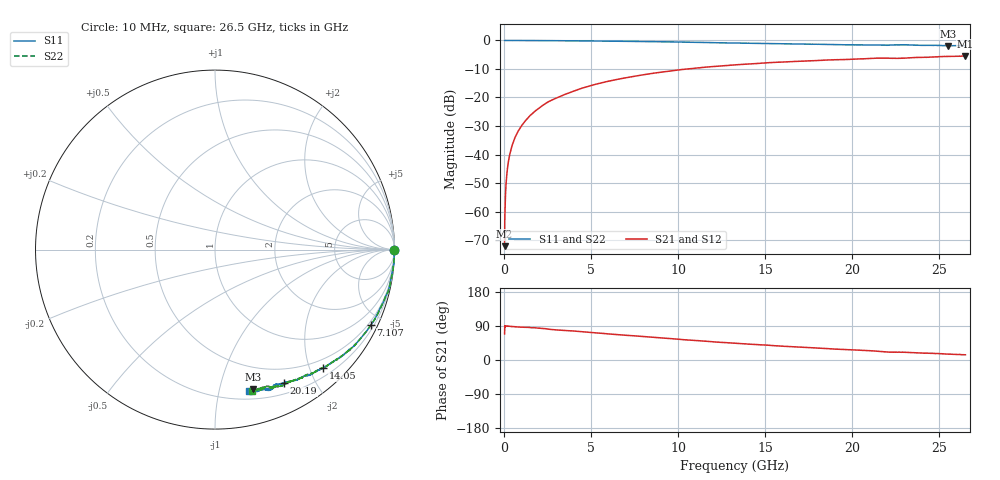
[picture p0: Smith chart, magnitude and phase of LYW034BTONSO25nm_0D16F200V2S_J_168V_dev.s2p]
!Keysight Technologies,N5222B,MY61253708,A.15.00.15
!Date: Wednesday, June 19, 2024 10:22:03
!Correction: S11(C  2-Port  )
!S21(C  2-Port  )
!S12(C  2-Port  )
!S22(C  2-Port  )
!S2P File: Measurements: S11, S21, S12, S22:
# Hz S  RI  R 50
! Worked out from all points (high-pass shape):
!   2651 points, 10 MHz to 26.5 GHz, reference 50 ohm
!   highest |S21| = -5.43 dB at 26.5 GHz (marker M1); lowest = -72.2 dB at 10 MHz (marker M2)
!   |S21| within 3 dB of the highest: 13.57 GHz to end of sweep
!   lowest |S11| = -1.9 dB at 25.5 GHz (marker M3), VSWR 9.20, Z = 14.4 - j63.3 ohm
!   |S11| at or under -10 dB: nowhere
!   |S22| runs from -1.8 to 0.0 dB; largest |S21 - S12| = 0.0061
!   S11 on the Smith chart (normalised r, x): 10 MHz: open; 7.107 GHz: 0.36, -4.34; 14.05 GHz: 0.33, -2.22; 20.19 GHz: 0.32, -1.59; 26.5 GHz: 0.26, -1.23
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1e7  0.9982 -0.00318  8.93e-05 0.00023  -0.000139 6.69e-05  0.9985 -0.00155
7.997358e7  0.9999 -0.0057  1.63e-05 0.00263  1.17e-05 0.00265  0.9994 -0.00512
1.499472e8  0.9999 -0.0107  5.39e-05 0.00493  4.94e-05 0.00491  0.9996 -0.00993
1.799358e8  0.9999 -0.0119  7.42e-05 0.00587  7.38e-05 0.0059  0.9997 -0.0112
2.29917e8  0.9997 -0.0156  0.000129 0.00755  0.000129 0.00752  0.9994 -0.0146
3.19883e8  0.9997 -0.0212  0.000214 0.0104  0.000254 0.0105  0.9996 -0.02
4.398377e8  0.9992 -0.0295  0.000459 0.0143  0.000411 0.0144  0.9992 -0.0286
5.997774e8  0.9987 -0.0394  0.000749 0.0196  0.000721 0.0196  0.9989 -0.0383
7.897057e8  0.9982 -0.052  0.00132 0.0256  0.00131 0.0257  0.9978 -0.051
1.429464e9  0.9908 -0.0953  0.0032 0.0464  0.00322 0.0464  0.9936 -0.0913
2.319128e9  0.9825 -0.1494  0.0095 0.0764  0.00963 0.0764  0.9838 -0.1489
3.208792e9  0.9719 -0.2053  0.0205 0.1027  0.0205 0.1027  0.9727 -0.2029
4.428332e9  0.944 -0.2776  0.0374 0.1398  0.0374 0.14  0.9465 -0.2732
7.107321e9  0.8688 -0.42  0.0956 0.2037  0.0964 0.2038  0.8715 -0.4164
8.846664e9  0.8078 -0.4986  0.1416 0.2348  0.1424 0.2348  0.811 -0.4946
1.3255e10  0.6346 -0.6399  0.2671 0.2604  0.2686 0.2598  0.641 -0.6363
1.40547e10  0.6029 -0.6617  0.2884 0.2584  0.2892 0.2577  0.6105 -0.652
1.767333e10  0.4644 -0.7213  0.3728 0.2347  0.3756 0.2329  0.478 -0.717
2.019238e10  0.3832 -0.7449  0.4211 0.2096  0.4236 0.2064  0.4002 -0.7416
2.209166e10  0.3294 -0.7565  0.4561 0.1745  0.4576 0.1716  0.327 -0.7618
2.550038e10  0.21 -0.7761  0.506 0.1389  0.5074 0.1384  0.2339 -0.7781
2.65e10  0.1904 -0.7905  0.5197 0.1278  0.519 0.1237  0.2072 -0.7885
